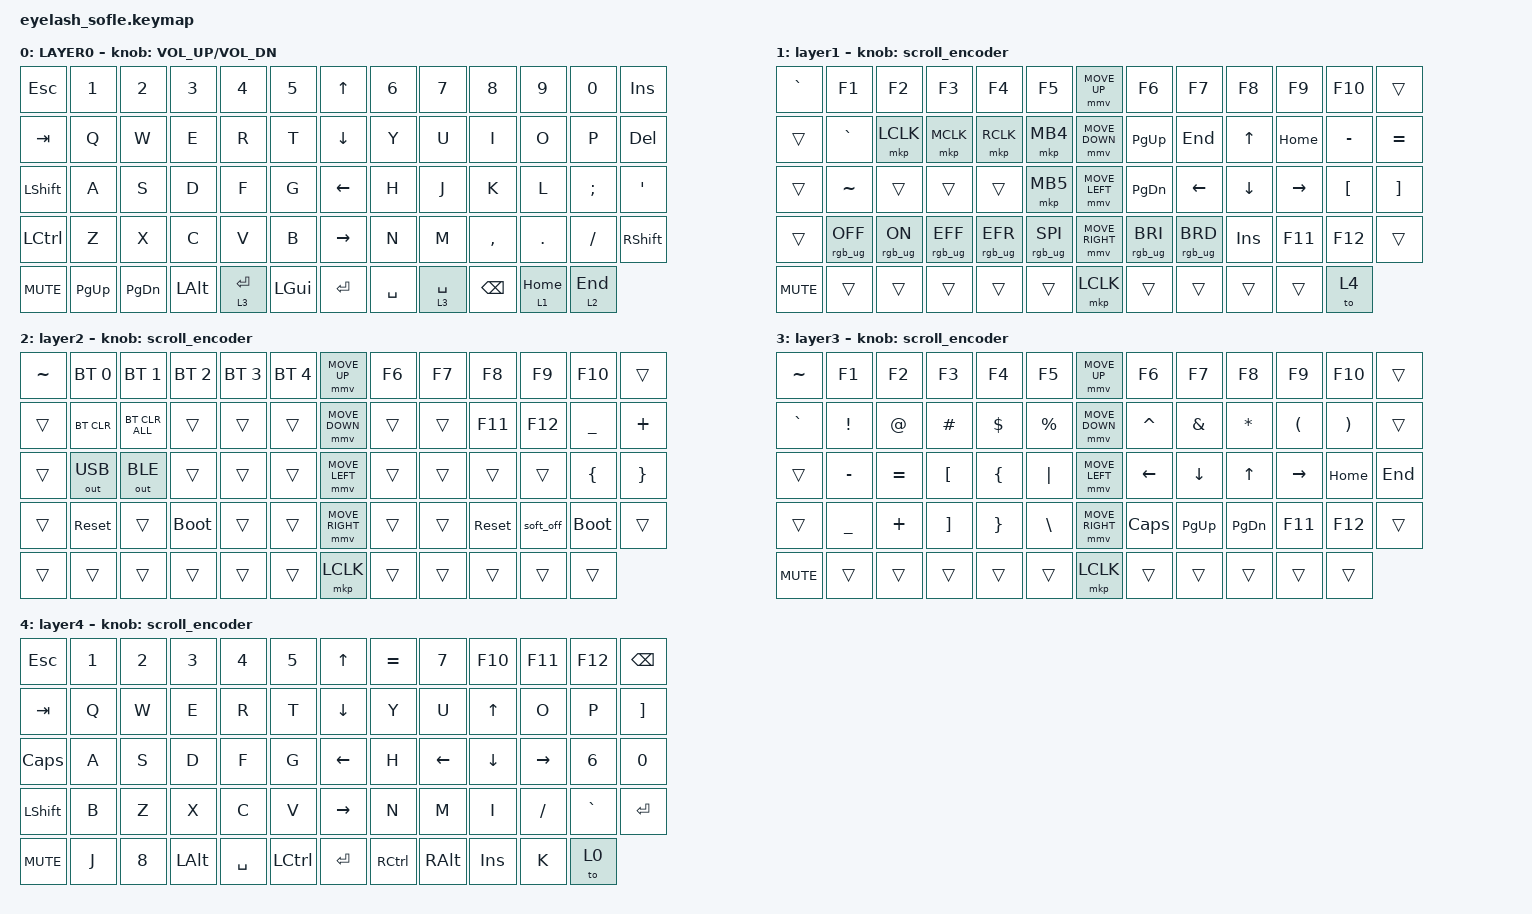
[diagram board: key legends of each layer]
#define ZMK_POINTING_DEFAULT_MOVE_VAL 1200  // 600
#define ZMK_POINTING_DEFAULT_SCRL_VAL 25   // 10

#include <input/processors.dtsi>
#include <zephyr/dt-bindings/input/input-event-codes.h>
#include <behaviors.dtsi>
#include <dt-bindings/zmk/bt.h>
#include <dt-bindings/zmk/keys.h>
#include <dt-bindings/zmk/outputs.h>
#include <dt-bindings/zmk/pointing.h>
#include <dt-bindings/zmk/rgb.h>

&mmv_input_listener { input-processors = <&zip_xy_scaler 2 1>; };

&msc_input_listener { input-processors = <&zip_scroll_scaler 2 1>; };

&msc {
    acceleration-exponent = <1>;      // 0
    time-to-max-speed-ms = <100>;       // 300
    delay-ms = <0>;                   // 0
};

&mmv {
    time-to-max-speed-ms = <500>;
    acceleration-exponent = <1>;
    trigger-period-ms = <16>;
};

&soft_off { hold-time-ms = <2000>; };

/ {
    scroll_encoder: scroll_encoder {
        compatible = "zmk,behavior-sensor-rotate";
        #sensor-binding-cells = <0>;
        bindings = <&msc SCRL_DOWN>, <&msc SCRL_UP>;

        tap-ms = <100>;
    };

    behaviors {
    };

    combos {
        compatible = "zmk,combos";

        softoff {
            bindings = <&soft_off>;
            key-positions = <14 28 40>;
        };
    };

    keymap {
        compatible = "zmk,keymap";

        layer0 {
            bindings = <
&kp ESC          &kp N1           &kp N2        &kp N3        &kp N4       &kp N5        &kp UP_ARROW     &kp N6         &kp N7       &kp N8     &kp N9           &kp N0      &kp INS
&kp TAB          &kp Q             &kp W         &kp E         &kp R        &kp T         &kp DOWN_ARROW   &kp Y          &kp U        &kp I      &kp O            &kp P       &kp DEL
&kp LSHFT       &kp A             &kp S         &kp D         &kp F        &kp G         &kp LEFT_ARROW   &kp H          &kp J        &kp K      &kp L            &kp SEMI    &kp APOS
&kp LCTRL       &kp Z             &kp X         &kp C         &kp V        &kp B         &kp RIGHT_ARROW  &kp N          &kp M        &kp COMMA  &kp DOT          &kp FSLH    &kp RSHFT
&kp C_MUTE    &kp PG_UP    &kp PG_DN     &kp LEFT_ALT  &lt 3 ENTER  &kp LEFT_GUI  &kp ENTER        &kp SPACE  &lt 3 SPACE  &kp BACKSPACE  &lt 1 HOME       &lt 2 END
            >;

            sensor-bindings = <&inc_dec_kp C_VOLUME_UP C_VOL_DN>;
            display-name = "LAYER0";
        };

        layer_1 {
            bindings = <
&kp GRAVE   &kp F1           &kp F2          &kp F3           &kp F4           &kp F5             &mmv MOVE_UP     &kp F6           &kp F7           &kp F8      &kp F9     &kp F10           &trans
&trans      &kp GRAVE        &mkp LCLK       &mkp MCLK        &mkp RCLK        &mkp MB4           &mmv MOVE_DOWN   &kp PG_UP        &kp END          &kp UP      &kp HOME   &kp MINUS         &kp EQUAL
&trans      &kp TILDE        &trans          &trans           &trans           &mkp MB5           &mmv MOVE_LEFT   &kp PG_DN        &kp LEFT         &kp DOWN    &kp RIGHT  &kp LEFT_BRACKET  &kp RIGHT_BRACKET
&trans      &rgb_ug RGB_OFF  &rgb_ug RGB_ON  &rgb_ug RGB_EFF  &rgb_ug RGB_EFR  &rgb_ug RGB_SPI    &mmv MOVE_RIGHT  &rgb_ug RGB_BRI  &rgb_ug RGB_BRD  &kp INSERT  &kp F11    &kp F12           &trans
&kp C_MUTE  &trans           &trans          &trans           &trans           &trans             &mkp LCLK        &trans           &trans           &trans      &trans     &to 4
            >;

            display-name = "layer1";
            sensor-bindings = <&scroll_encoder>;
        };

        layer_2 {
            bindings = <
&kp TILDE  &bt BT_SEL 0  &bt BT_SEL 1    &bt BT_SEL 2  &bt BT_SEL 3  &bt BT_SEL 4    &mmv MOVE_UP     &kp F6  &kp F7  &kp F8      &kp F9     &kp F10      &trans
&trans     &bt BT_CLR    &bt BT_CLR_ALL  &trans        &trans        &trans          &mmv MOVE_DOWN   &trans  &trans  &kp F11     &kp F12    &kp UNDER    &kp PLUS
&trans     &out OUT_USB  &out OUT_BLE    &trans        &trans        &trans          &mmv MOVE_LEFT   &trans  &trans  &trans      &trans     &kp LBRC     &kp RBRC
&trans     &sys_reset    &trans          &bootloader   &trans        &trans          &mmv MOVE_RIGHT  &trans  &trans  &sys_reset  &soft_off  &bootloader  &trans
&trans     &trans        &trans          &trans        &trans        &trans          &mkp LCLK        &trans  &trans  &trans      &trans     &trans
            >;

            display-name = "layer2";
            sensor-bindings = <&scroll_encoder>;
        };

        layer_3 {
            bindings = <
&kp TILDE        &kp F1           &kp F2            &kp F3         &kp F4        &kp F5           &mmv MOVE_UP           &kp F6           &kp F7          &kp F8            &kp F9          &kp F10         &trans
&kp GRAVE      &kp EXCL       &kp AT           &kp HASH    &kp DLLR    &kp PRCNT    &mmv MOVE_DOWN    &kp CARET    &kp AMPS     &kp STAR       &kp LPAR      &kp RPAR      &trans
&trans              &kp MINUS    &kp EQUAL    &kp LBKT     &kp LBRC     &kp PIPE       &mmv MOVE_LEFT        &kp LEFT       &kp DOWN    &kp UP           &kp RIGHT    &kp HOME    &kp END
&trans              &kp UNDER    &kp PLUS       &kp RBKT    &kp RBRC    &kp BSLH       &mmv MOVE_RIGHT    &kp CLCK       &kp PG_UP    &kp PG_DN    &kp F11         &kp F12        &trans
&kp C_MUTE    &trans            &trans             &trans          &trans          &trans            &mkp LCLK                   &trans            &trans            &trans            &trans           &trans
            >;

            display-name = "layer3";
            sensor-bindings = <&scroll_encoder>;
        };

        layer_4 {
            bindings = <
&kp ESC     &kp N1     &kp N2        &kp N3        &kp N4  &kp N5       &kp UP_ARROW     &kp EQUAL  &kp N7     &kp F10    &kp F11          &kp F12     &kp BACKSPACE
&kp TAB     &kp Q      &kp W         &kp E         &kp R   &kp T        &kp DOWN_ARROW   &kp Y      &kp U      &kp UP     &kp O            &kp P       &kp RBKT
&kp CAPS    &kp A      &kp S         &kp D         &kp F   &kp G        &kp LEFT_ARROW   &kp H      &kp LEFT   &kp DOWN   &kp RIGHT        &kp N6       &kp N0
&kp LSHFT   &kp B      &kp Z         &kp X         &kp C   &kp V        &kp RIGHT_ARROW  &kp N      &kp M      &kp I      &kp FSLH         &kp GRAVE   &kp ENTER
&kp C_MUTE  &kp J      &kp N8      &kp LEFT_ALT    &kp SPACE  &kp LCTRL &kp ENTER        &kp RCTRL  &kp RIGHT_ALT &kp INS   &kp K         &to 0
            >;
         display-name = "layer4";
            sensor-bindings = <&scroll_encoder>;
        };
    };
};
